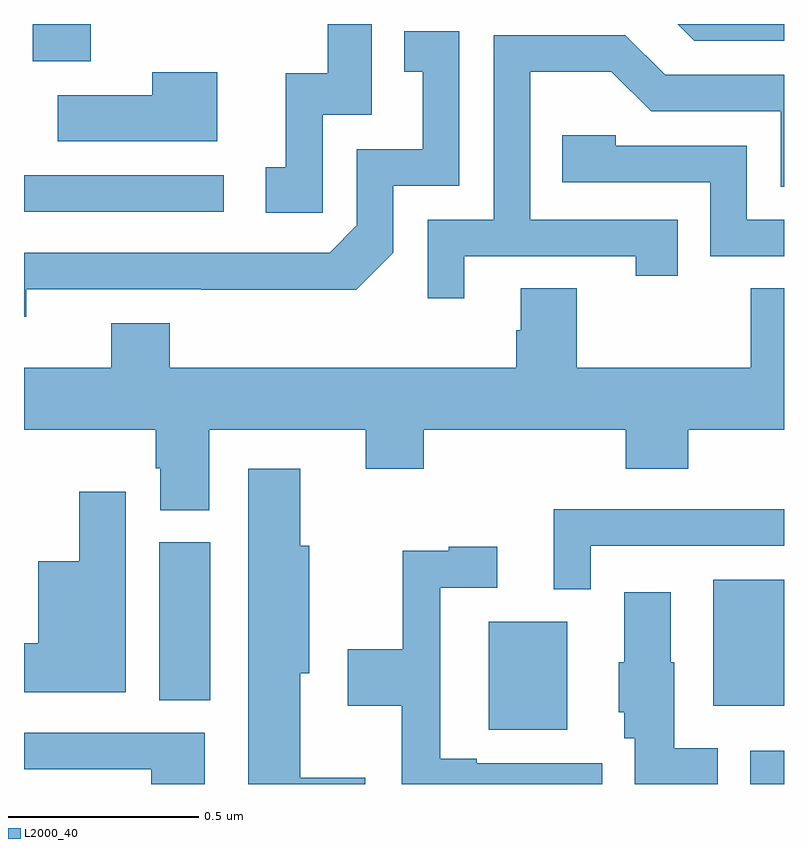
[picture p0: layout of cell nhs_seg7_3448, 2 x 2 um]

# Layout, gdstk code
import gdstk
lib = gdstk.Library(unit=1e-6, precision=1e-09)
def R(c, l, rs):  # rectangles x0, y0, x1, y1
    for r in rs: c.add(gdstk.rectangle(r[:2], r[2:], *l))
def P(c, l, *ps):  # polygons
    for p in ps: c.add(gdstk.Polygon(p, *l))
L2000_40 = (2000, 40)

nhs_seg7_3448 = lib.new_cell('nhs_seg7_3448')
R(nhs_seg7_3448, L2000_40, [(160.911,1017,161,1017.088), (160.223,1017.143,160.429,1017.427), (160.814,1017.206,161,1017.538), (159.356,1017.22,159.49,1017.636), (159,1018.506,159.526,1018.602), (159.023,1018.902,159.176,1019)])
P(nhs_seg7_3448, L2000_40, [(161,1019),(160.72,1019),(160.764,1018.956),(161,1018.956)],
  [(159.786,1018.761),(159.915,1018.761),(159.915,1019),(159.799,1019),(159.799,1018.87),(159.689,1018.87),(159.689,1018.623),(159.636,1018.623),(159.636,1018.503),(159.786,1018.503)],
  [(159.006,1018.302),(159.466,1018.302),(159.466,1018.301),(159.874,1018.301),(159.972,1018.398),(159.972,1018.575),(160.146,1018.575),(160.146,1018.981),(160,1018.981),(160,1018.875),(160.049,1018.875),(160.049,1018.671),(159.876,1018.671),(159.876,1018.47),(159.804,1018.398),(159,1018.398),(159,1018.229),(159.006,1018.229)],
  [(160.159,1018.389),(160.61,1018.389),(160.61,1018.338),(160.721,1018.338),(160.721,1018.485),(160.332,1018.485),(160.332,1018.874),(160.546,1018.874),(160.65,1018.77),(160.992,1018.77),(160.992,1018.572),(161,1018.572),(161,1018.866),(160.687,1018.866),(160.582,1018.971),(160.236,1018.971),(160.236,1018.485),(160.062,1018.485),(160.062,1018.278),(160.159,1018.278)],
  [(159.508,1018.873),(159.338,1018.873),(159.338,1018.813),(159.089,1018.813),(159.089,1018.691),(159.508,1018.691)],
  [(161,1018.485),(160.902,1018.485),(160.902,1018.68),(160.557,1018.68),(160.557,1018.707),(160.417,1018.707),(160.417,1018.584),(160.806,1018.584),(160.806,1018.389),(161,1018.389)],
  [(159.23,1018.096),(159,1018.096),(159,1017.932),(159.347,1017.932),(159.347,1017.831),(159.359,1017.831),(159.359,1017.721),(159.487,1017.721),(159.487,1017.932),(159.899,1017.932),(159.899,1017.83),(160.052,1017.83),(160.052,1017.932),(160.583,1017.932),(160.583,1017.83),(160.748,1017.83),(160.748,1017.932),(161,1017.932),(161,1018.304),(160.912,1018.304),(160.912,1018.096),(160.455,1018.096),(160.455,1018.304),(160.307,1018.304),(160.307,1018.194),(160.295,1018.194),(160.295,1018.096),(159.383,1018.096),(159.383,1018.213),(159.23,1018.213)],
  [(159.898,1017.017),(159.727,1017.017),(159.727,1017.291),(159.751,1017.291),(159.751,1017.627),(159.727,1017.627),(159.727,1017.829),(159.59,1017.829),(159.59,1017),(159.898,1017)],
  [(159.268,1017.769),(159.146,1017.769),(159.146,1017.586),(159.038,1017.586),(159.038,1017.37),(159,1017.37),(159,1017.242),(159.268,1017.242)],
  [(160.491,1017.627),(161,1017.627),(161,1017.723),(160.394,1017.723),(160.394,1017.512),(160.491,1017.512)],
  [(160.522,1017.054),(160.192,1017.054),(160.192,1017.067),(160.095,1017.067),(160.095,1017.516),(160.246,1017.516),(160.246,1017.625),(160.118,1017.625),(160.118,1017.614),(159.997,1017.614),(159.997,1017.354),(159.852,1017.354),(159.852,1017.206),(159.994,1017.206),(159.994,1017),(160.522,1017)],
  [(160.826,1017.094),(160.711,1017.094),(160.711,1017.321),(160.702,1017.321),(160.702,1017.505),(160.58,1017.505),(160.58,1017.321),(160.565,1017.321),(160.565,1017.189),(160.58,1017.189),(160.58,1017.12),(160.607,1017.12),(160.607,1017),(160.826,1017)],
  [(159.475,1017.135),(159,1017.135),(159,1017.039),(159.335,1017.039),(159.335,1017),(159.475,1017)])

lib.write_gds('nhs_seg7_3448.gds')
